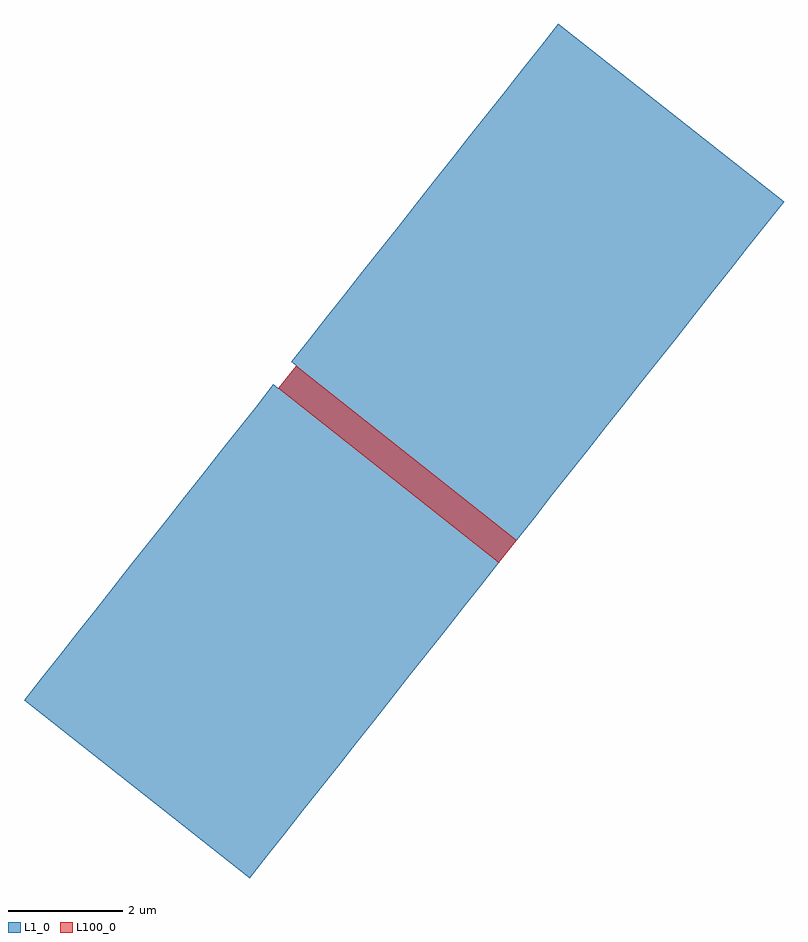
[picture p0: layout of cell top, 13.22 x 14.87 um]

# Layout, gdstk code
import gdstk
lib = gdstk.Library(unit=1e-6, precision=1e-09)
def P(c, l, *ps):  # polygons
    for p in ps: c.add(gdstk.Polygon(p, *l))
L1_0 = (1, 0)
L100_0 = (100, 0)

top = lib.new_cell('top')
P(top, L1_0, [(16.55,6.944),(12.627,10.043),(12.936,10.435),(16.86,7.336)],
  [(16.241,6.552),(12.317,9.65),(12.627,10.043),(16.55,6.944)],
  [(15.931,6.159),(12.007,9.258),(12.317,9.65),(16.241,6.552)],
  [(15.621,5.767),(11.697,8.866),(12.007,9.258),(15.931,6.159)],
  [(15.311,5.374),(11.387,8.473),(11.697,8.866),(15.621,5.767)],
  [(15.001,4.982),(11.077,8.081),(11.387,8.473),(15.311,5.374)],
  [(14.691,4.59),(10.767,7.689),(11.077,8.081),(15.001,4.982)],
  [(14.381,4.197),(10.457,7.296),(10.767,7.689),(14.691,4.59)],
  [(14.071,3.805),(10.147,6.904),(10.457,7.296),(14.381,4.197)],
  [(13.761,3.412),(9.838,6.511),(10.147,6.904),(14.071,3.805)],
  [(13.451,3.02),(9.528,6.119),(9.838,6.511),(13.761,3.412)],
  [(13.142,2.628),(9.218,5.727),(9.528,6.119),(13.451,3.02)],
  [(12.832,2.235),(8.908,5.334),(9.218,5.727),(13.142,2.628)],
  [(12.522,1.843),(8.598,4.942),(8.908,5.334),(12.832,2.235)],
  [(12.212,1.451),(8.288,4.549),(8.598,4.942),(12.522,1.843)],
  [(11.902,1.058),(8.064,4.089),(8.374,4.481),(12.212,1.451)],
  [(11.592,0.666),(7.668,3.765),(7.978,4.157),(11.902,1.058)],
  [(11.282,0.273),(7.358,3.372),(7.668,3.765),(11.592,0.666)],
  [(10.972,-0.119),(7.049,2.98),(7.358,3.372),(11.282,0.273)],
  [(10.662,-0.511),(6.739,2.588),(7.049,2.98),(10.972,-0.119)],
  [(10.353,-0.904),(6.429,2.195),(6.739,2.588),(10.662,-0.511)],
  [(10.043,-1.296),(6.119,1.803),(6.429,2.195),(10.353,-0.904)],
  [(9.733,-1.689),(5.809,1.41),(6.119,1.803),(10.043,-1.296)],
  [(9.423,-2.081),(5.499,1.018),(5.809,1.41),(9.733,-1.689)],
  [(8.803,-2.866),(4.879,0.233),(5.189,0.626),(9.113,-2.473)],
  [(8.493,-3.258),(4.569,-0.159),(4.879,0.233),(8.803,-2.866)],
  [(8.183,-3.65),(4.259,-0.552),(4.569,-0.159),(8.493,-3.258)],
  [(7.873,-4.043),(3.95,-0.944),(4.259,-0.552),(8.183,-3.65)],
  [(7.564,-4.435),(3.64,-1.336),(3.95,-0.944),(7.873,-4.043)],
  [(9.113,-2.473),(5.189,0.626),(5.499,1.018),(9.423,-2.081)])
P(top, L100_0, [(11.902,1.057),(8.063,4.089),(8.373,4.48),(12.21,1.448)],
  [(11.9,1.054),(8.063,4.089),(8.066,4.093),(11.903,1.058)])

lib.write_gds('top.gds')
